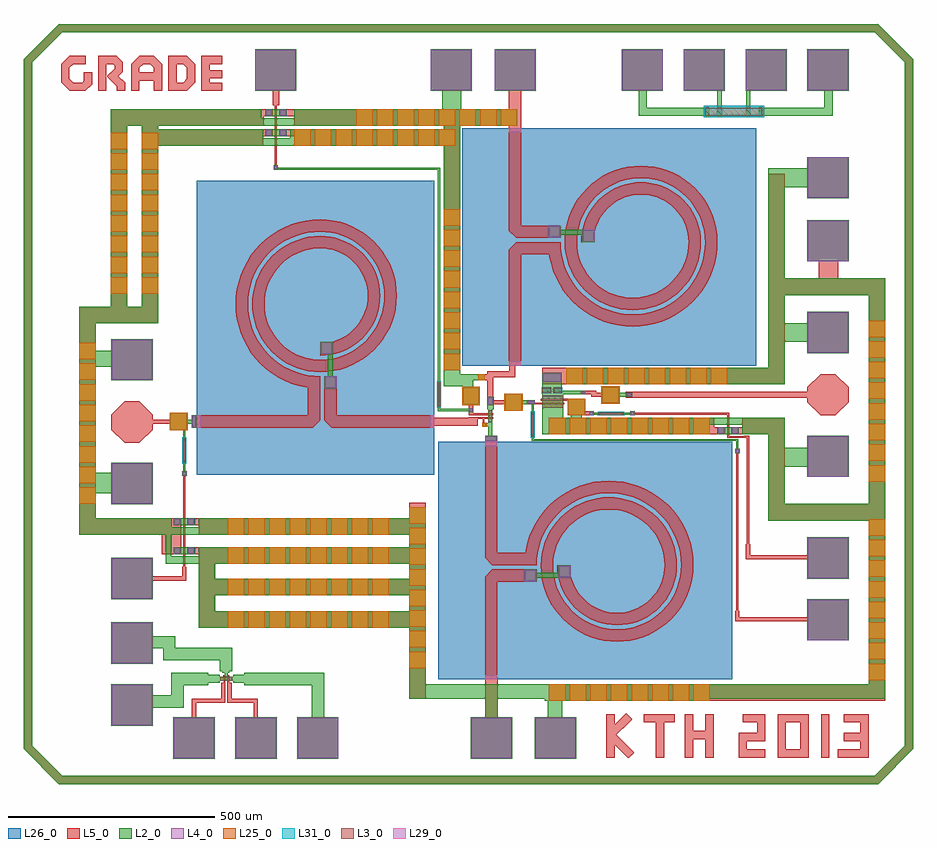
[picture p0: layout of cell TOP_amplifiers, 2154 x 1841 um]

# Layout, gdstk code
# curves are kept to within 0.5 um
from math import pi, radians
import gdstk
lib = gdstk.Library(unit=1e-6, precision=5e-10)
def R(c, l, rs):  # rectangles x0, y0, x1, y1
    for r in rs: c.add(gdstk.rectangle(r[:2], r[2:], *l))
def A(c, l, x, y, w, h, nx, ny, dx, dy):  # array of equal rectangles
    R(c, l, [(x+i*dx, y+j*dy, x+i*dx+w, y+j*dy+h) for i in range(nx) for j in range(ny)])
def P(c, l, *ps):  # polygons
    for p in ps: c.add(gdstk.Polygon(p, *l))
L2_0 = (2, 0)
L3_0 = (3, 0)
L4_0 = (4, 0)
L5_0 = (5, 0)
L25_0 = (25, 0)
L26_0 = (26, 0)
L29_0 = (29, 0)
L31_0 = (31, 0)

power_rail = lib.new_cell('power_rail')
A(power_rail, L2_0, 35, 210, 50, 40, 8, 1, 50, 0)
A(power_rail, L5_0, 45, 210, 50, 40, 8, 1, 50, 0)
A(power_rail, L25_0, 45, 210, 40, 40, 8, 1, 50, 0)
power_rail.add(gdstk.Label('VD', (442,229), layer=5, texttype=251))
power_rail.add(gdstk.Label('GD', (39,229), layer=2, texttype=251))

ind_2n8 = lib.new_cell('ind_2n8')
R(ind_2n8, L2_0, [(5,95,35,125), (13,95,25,205), (-5,178,25,208)])
R(ind_2n8, L4_0, [(5.5,95.5,34.5,124.5), (-4.5,178.5,24.5,207.5)])
R(ind_2n8, L5_0, [(-304,0,-289,30), (256,0,271,30), (-35,75,-5,125), (5,75,35,125), (-5,178,25,208)])
P(ind_2n8, L5_0, [(271,30),(35,30),(35,75),(5,75),(5,18),(23,0),(271,0)],
  [(-5,165),(-5,135),(11.124,135.704),(27.125,137.8105),(42.8815,141.3035),(58.2735,146.157),(73.1845,152.333),(87.5,159.7855),(101.1115,168.457),(113.9155,178.282),(125.815,189.185),(136.718,201.0845),(146.543,213.8885),(155.2145,227.5),(162.667,241.8155),(168.843,256.7265),(173.6965,272.1185),(177.1895,287.875),(179.296,303.876),(180,320),(179.296,336.124),(177.1895,352.125),(173.6965,367.8815),(168.843,383.2735),(162.667,398.1845),(155.2145,412.5),(146.543,426.1115),(136.718,438.9155),(125.815,450.815),(113.9155,461.718),(101.1115,471.543),(87.5,480.2145),(73.1845,487.667),(58.2735,493.843),(42.8815,498.6965),(27.125,502.1895),(11.124,504.296),(-5,505),(-5,475),(8.509,474.41),(21.9155,472.645),(35.117,469.7185),(48.013,465.6525),(60.506,460.4775),(72.5,454.234),(83.9045,446.9685),(94.632,438.737),(104.6015,429.6015),(113.737,419.632),(121.9685,408.9045),(129.234,397.5),(135.4775,385.506),(140.6525,373.013),(144.7185,360.117),(147.645,346.9155),(149.41,333.509),(150,320),(149.41,306.491),(147.645,293.0845),(144.7185,279.883),(140.6525,266.987),(135.4775,254.494),(129.234,242.5),(121.9685,231.0955),(113.737,220.368),(104.6015,210.3985),(94.632,201.263),(83.9045,193.0315),(72.5,185.766),(60.506,179.5225),(48.013,174.3475),(35.117,170.2815),(21.9155,167.355),(8.509,165.59)],
  [(-5,205),(-5,175),(7.6375,175.552),(20.179,177.203),(32.529,179.941),(44.593,183.7445),(56.2795,188.5855),(67.5,194.4265),(78.1685,201.223),(88.204,208.9235),(97.5305,217.4695),(106.0765,226.796),(113.777,236.8315),(120.5735,247.5),(126.4145,258.7205),(131.2555,270.407),(135.059,282.471),(137.797,294.821),(139.448,307.3625),(140,320),(139.448,332.6375),(137.797,345.179),(135.059,357.529),(131.2555,369.593),(126.4145,381.2795),(120.5735,392.5),(113.777,403.1685),(106.0765,413.204),(97.5305,422.5305),(88.204,431.0765),(78.1685,438.777),(67.5,445.5735),(56.2795,451.4145),(44.593,456.2555),(32.529,460.059),(20.179,462.797),(7.6375,464.448),(-5,465),(-5,435),(14.9695,433.253),(24.764,431.0815),(43.601,424.2255),(60.9615,414.2025),(76.3175,401.3175),(83.095,393.9205),(94.593,377.5),(103.0645,359.3325),(108.253,339.9695),(110,320),(108.253,300.0305),(106.0815,290.236),(99.2255,271.399),(89.2025,254.0385),(76.3175,238.6825),(60.9615,225.7975),(43.601,215.7745),(24.764,208.9185),(14.9695,206.747)],
  [(-5,165),(-5,135),(-19.3805,135.628),(-33.652,137.5065),(-47.705,140.622),(-61.4335,144.9505),(-74.732,150.459),(-87.5,157.106),(-99.64,164.84),(-111.06,173.6025),(-121.6725,183.3275),(-131.3975,193.94),(-140.16,205.36),(-147.894,217.5),(-154.541,230.268),(-160.0495,243.5665),(-164.378,257.295),(-167.4935,271.348),(-169.372,285.6195),(-170,300),(-169.372,314.3805),(-167.4935,328.652),(-164.378,342.705),(-160.0495,356.4335),(-154.541,369.732),(-147.894,382.5),(-140.16,394.64),(-131.3975,406.06),(-121.6725,416.6725),(-111.06,426.3975),(-99.64,435.16),(-87.5,442.894),(-74.732,449.541),(-61.4335,455.0495),(-47.705,459.378),(-33.652,462.4935),(-19.3805,464.372),(-5,465),(-5,435),(-16.766,434.4865),(-28.4425,432.949),(-39.9405,430.4),(-51.1725,426.8585),(-62.0535,422.3515),(-72.5,416.9135),(-82.433,410.5855),(-91.7765,403.416),(-100.4595,395.4595),(-108.416,386.7765),(-115.5855,377.433),(-121.9135,367.5),(-127.3515,357.0535),(-131.8585,346.1725),(-135.4,334.9405),(-137.949,323.4425),(-139.4865,311.766),(-140,300),(-139.4865,288.234),(-137.949,276.5575),(-135.4,265.0595),(-131.8585,253.8275),(-127.3515,242.9465),(-121.9135,232.5),(-115.5855,222.567),(-108.416,213.2235),(-100.4595,204.5405),(-91.7765,196.584),(-82.433,189.4145),(-72.5,183.0865),(-62.0535,177.6485),(-51.1725,173.1415),(-39.9405,169.6),(-28.4425,167.051),(-16.766,165.5135)],
  [(-5,125),(-5,95),(-22.867,95.78),(-40.598,98.1145),(-58.058,101.985),(-75.114,107.363),(-91.6365,114.207),(-107.5,122.465),(-122.583,132.074),(-136.7715,142.961),(-149.957,155.043),(-162.039,168.2285),(-172.926,182.417),(-182.535,197.5),(-190.793,213.3635),(-197.637,229.886),(-203.015,246.942),(-206.8855,264.402),(-209.22,282.133),(-210,300),(-209.22,317.867),(-206.8855,335.598),(-203.015,353.058),(-197.637,370.114),(-190.793,386.6365),(-182.535,402.5),(-172.926,417.583),(-162.039,431.7715),(-149.957,444.957),(-136.7715,457.039),(-122.583,467.926),(-107.5,477.535),(-91.6365,485.793),(-75.114,492.637),(-58.058,498.015),(-40.598,501.8855),(-22.867,504.22),(-5,505),(-5,475),(-20.2525,474.334),(-35.3885,472.3415),(-50.2935,469.037),(-64.8535,464.446),(-78.958,458.604),(-92.5,451.5545),(-105.376,443.3515),(-117.488,434.058),(-128.7435,423.7435),(-139.058,412.488),(-148.3515,400.376),(-156.5545,387.5),(-163.604,373.958),(-169.446,359.8535),(-174.037,345.2935),(-177.3415,330.3885),(-179.334,315.2525),(-180,300),(-179.334,284.7475),(-177.3415,269.6115),(-174.037,254.7065),(-169.446,240.1465),(-163.604,226.042),(-156.5545,212.5),(-148.3515,199.624),(-139.058,187.512),(-128.7435,176.2565),(-117.488,165.942),(-105.376,156.6485),(-92.5,148.4455),(-78.958,141.396),(-64.8535,135.554),(-50.2935,130.963),(-35.3885,127.6585),(-20.2525,125.666)],
  [(-304,0),(-23,0),(-5,18),(-5,75),(-35,75),(-35,30),(-304,30)])
R(ind_2n8, L26_0, [(-304,-113,271,599)])
R(ind_2n8, L29_0, [(-304,0,-294,30), (261,0,271,30)])

rf_pad_100 = lib.new_cell('RF_PAD_100')
P(rf_pad_100, L5_0, [(32,0),(0,32),(0,68),(32,100),(68,100),(100,68),(100,32),(68,0)])

pad_100 = lib.new_cell('PAD_100')
R(pad_100, L2_0, [(0,0,100,100)])
R(pad_100, L4_0, [(1,1,99,99)])
R(pad_100, L5_0, [(0,0,100,100)])

lna_3 = lib.new_cell('lna_3')
R(lna_3, L2_0, [(995,615,1030,695), (843,634,874,714), (660,679,874,714), (660,679,700,749), (814,679,1790,714), (1773,679,1813,1126), (150,851,188,1022), (150,851,214,891), (606,851,666,891), (150,930,214,970), (606,930,666,970), (70,1006,159,1024), (150,1006,214,1046), (606,1006,666,1046), (70,1012,83,1081), (89,1029,141,1046), (-140,1076,-100,1144), (-140,1076,84,1116), (70,1076,159,1094), (150,1076,214,1116), (606,1076,666,1116), (89,1099,141,1116), (1529,1110,1806,1151), (1773,1110,1813,1200), (1529,1137,1569,1359), (-117,1177,-47,1226), (110,1219,120,1230), (112,1230,117,1245), (1538,1241,1641,1287), (112,1245,117,1255), (1449,1274,1460,1284), (1452,1281,1456,1308), (843,1301,873,1316), (956,1304,1456,1308), (112,1305,117,1315), (851,1305,861,1347), (956,1308,961,1318), (112,1315,117,1330), (982,1320,1032,1393), (1406,1320,1458,1337), (1466,1320,1569,1360), (81,1330,122,1370), (133,1335,143,1365), (838,1339,846,1346), (846,1339,851,1346), (1388,1342,1477,1360), (851,1347,861,1358), (1051,1354,1077,1370), (851,1360,861,1367), (1045,1365,1086,1405), (1095,1365,1106,1375), (1195,1365,1206,1375), (1105,1367,1113,1372), (1113,1367,1123,1372), (1173,1367,1183,1372), (1183,1367,1195,1372), (956,1368,961,1378), (851,1369,861,1380), (804,1373,814,1383), (729,1375,814,1381), (892,1377,933,1417), (956,1377,961,1394), (848,1380,864,1410), (729,1381,734,1391), (789,1392,829,1433), (944,1392,964,1402), (982,1395,1032,1402), (1127,1395,1168,1435), (982,1404,1032,1418), (1179,1410,1200,1420), (982,1417,1002,1425), (1000,1417,1011,1425), (1009,1417,1029,1425), (1028,1417,1086,1425), (982,1427,1002,1435), (1000,1427,1011,1435), (1009,1427,1029,1435), (789,1433,814,1439), (982,1435,1029,1468), (743,1436,814,1465), (729,1441,734,1451), (1396,1441,1556,1481), (1529,1441,1569,1943), (729,1450,734,1965), (812,1450,830,1465), (827,1450,842,1465), (-113,1483,-56,1522), (-140,1531,-100,1596), (1544,1543,1647,1589), (-140,1588,51,1628), (1773,1592,1813,1697), (11,1613,51,1655), (-64,1617,-24,1653), (1529,1656,1808,1697), (743,1852,783,2058), (1529,1918,1647,1964), (331,1960,341,1971), (334,1960,734,1965), (11,2018,306,2058), (292,2018,381,2036), (-64,2031,-24,2081), (311,2041,363,2058), (743,2042,783,2085), (11,2053,51,2107), (-64,2067,28,2107), (11,2067,301,2107), (292,2067,381,2085), (381,2067,525,2107), (311,2090,363,2107), (740,2090,785,2190)])
R(lna_3, L3_0, [(112,1250,117,1310), (956,1313,961,1373), (851,1349,861,1378), (1118,1367,1178,1372), (982,1384,1032,1413), (729,1386,734,1446), (982,1420,1002,1432), (1009,1420,1029,1432)])
R(lna_3, L4_0, [(90,1030,105,1045), (124,1030,139,1045), (90,1100,105,1115), (124,1100,139,1115), (111,1220,119,1229), (1450,1275,1459,1283), (844,1302,872,1315), (1408,1321,1423,1336), (1442,1321,1457,1336), (134,1336,142,1364), (1096,1366,1105,1374), (1196,1366,1205,1374), (805,1374,813,1382), (850,1391,862,1409), (945,1393,963,1401), (1186,1411,1199,1419), (1076,1418,1085,1424), (983,1447,1028,1467), (332,1961,340,1970), (312,2042,327,2057), (346,2042,361,2057), (312,2091,327,2106), (346,2091,361,2106)])
R(lna_3, L5_0, [(843,617,874,731), (1394,674,1813,714), (660,679,699,766), (1773,703,1813,733), (150,851,222,891), (615,851,676,891), (150,868,189,1022), (150,930,222,970), (615,930,676,970), (112,988,117,1221), (150,1006,222,1046), (615,1006,676,1046), (60,1029,107,1116), (70,1029,107,1046), (122,1029,159,1046), (-140,1076,-100,1153), (-133,1076,84,1116), (150,1076,222,1116), (615,1076,676,1116), (70,1099,107,1116), (122,1099,159,1116), (1529,1110,1569,1359), (1529,1110,1806,1151), (1773,1110,1813,1215), (110,1219,120,1230), (1449,1274,1460,1284), (843,1301,873,1316), (1430,1311,1472,1315), (1430,1311,1435,1372), (1388,1320,1425,1337), (1440,1320,1477,1337), (1466,1320,1569,1360), (80,1330,121,1370), (133,1335,145,1365), (837,1339,845,1346), (715,1340,825,1360), (36,1345,68,1355), (804,1357,849,1361), (847,1357,863,1361), (1044,1365,1085,1405), (1083,1365,1106,1375), (1195,1365,1206,1375), (804,1366,849,1370), (847,1366,863,1370), (804,1367,814,1378), (1197,1367,1433,1372), (891,1377,932,1417), (789,1391,829,1432), (857,1392,881,1402), (944,1392,964,1402), (959,1392,1035.2,1396), (1126,1395,1167,1435), (978.4,1401,1035.2,1405), (1033,1401,1045,1405), (1184,1408,1638,1423), (1100,1410,1115,1420), (1075,1417,1090,1425), (1088,1417,1112,1425), (982,1441,1051,1481), (1386,1441,1544,1481), (1529,1441,1569,1951), (827,1450,842,1465), (837,1450,854,1465), (-140,1544,-100,1628), (-133,1588,51,1628), (1773,1598,1813,1697), (11,1610,51,1666), (-64,1611,-24,1670), (1529,1656,1813,1697), (1652,1673,1699,1751), (743,1868,783,2058), (331,1960,341,1971), (334,1964,339,2120), (16,2018,306,2058), (-64,2039,-24,2090), (292,2041,329,2058), (344,2041,381,2058), (743,2047,783,2086), (11,2054,51,2080), (901,2061,931,2075), (-64,2067,22,2107), (11,2067,307,2107), (381,2067,531,2107), (292,2090,329,2107), (344,2090,381,2107), (901,2099,931,2157), (329,2117,344,2156)])
R(lna_3, L25_0, [(79,1329,123,1371), (836,1338,847,1347), (1045,1365,1085,1405), (890,1376,934,1418), (788,1390,830,1434), (1125,1394,1169,1436), (827,1450,842,1465)])
R(lna_3, L31_0, [(110,1248,119,1312), (954,1311,963,1375), (1116,1365,1180,1374), (727,1384,736,1448), (981,1419,1003,1433), (1008,1419,1030,1433)])
lna_3.add(gdstk.FlexPath([(1167,1415),(1179,1415)], 10, ends="flush", simple_path=True, layer=2, datatype=0))  # L2_0
lna_3.add(gdstk.FlexPath([(932,1397),(944,1397)], 10, ends="flush", simple_path=True, layer=2, datatype=0))  # L2_0
lna_3.add(gdstk.FlexPath([(809,1432),(809,1444)], 10, ends="flush", simple_path=True, layer=2, datatype=0))  # L2_0
lna_3.add(gdstk.FlexPath([(121,1350),(133,1350)], 10, ends="flush", simple_path=True, layer=2, datatype=0))  # L2_0
lna_3.add(gdstk.FlexPath([(114,999),(114,970),(23,970)], 10, ends="flush", simple_path=True, layer=5, datatype=0))  # L5_0
lna_3.add(gdstk.FlexPath([(1454,892),(1454,871),(1636,871)], 10, ends="flush", simple_path=True, layer=5, datatype=0))  # L5_0
lna_3.add(gdstk.FlexPath([(1480,1053),(1480,1022),(1637,1022)], 10, ends="flush", simple_path=True, layer=5, datatype=0))  # L5_0
lna_3.add(gdstk.FlexPath([(1470,1313),(1480,1313),(1480,1048)], 5, ends="flush", simple_path=True, layer=5, datatype=0))  # L5_0
lna_3.add(gdstk.FlexPath([(1454,1278),(1454,888)], 5, ends="flush", simple_path=True, layer=5, datatype=0))  # L5_0
lna_3.add(gdstk.FlexPath([(1127,1415),(1113,1415)], 10, ends="flush", simple_path=True, layer=5, datatype=0))  # L5_0
lna_3.add(gdstk.FlexPath([(892,1397),(878,1397)], 10, ends="flush", simple_path=True, layer=5, datatype=0))  # L5_0
lna_3.add(gdstk.FlexPath([(909,1487),(909,1465),(856,1465),(856,1390)], 15, ends="flush", simple_path=True, layer=5, datatype=0))  # L5_0
lna_3.add(gdstk.FlexPath([(809,1392),(809,1378)], 10, ends="flush", simple_path=True, layer=5, datatype=0))  # L5_0
lna_3.add(gdstk.FlexPath([(81,1350),(67,1350)], 10, ends="flush", simple_path=True, layer=5, datatype=0))  # L5_0
lna_3.add(gdstk.FlexPath([(839,1344),(839,1359)], 4, ends="flush", simple_path=True, layer=5, datatype=0))  # L5_0
lna_3.add(gdstk.Reference(power_rail, (953,464)))
lna_3.add(gdstk.Reference(power_rail, (2023,679), rotation=pi/2))
lna_3.add(gdstk.Reference(power_rail, (175,641)))
lna_3.add(gdstk.Reference(power_rail, (175,796)))
lna_3.add(gdstk.Reference(power_rail, (186,1615), rotation=pi/2))
lna_3.add(gdstk.Reference(power_rail, (175,720)))
lna_3.add(gdstk.Reference(power_rail, (261,1615), rotation=pi/2))
lna_3.add(gdstk.Reference(power_rail, (953,1110)))
lna_3.add(gdstk.Reference(power_rail, (993,1430), rotation=pi/2))
lna_3.add(gdstk.Reference(power_rail, (175,866)))
lna_3.add(gdstk.Reference(power_rail, (1475,1231), rotation=pi, x_reflection=True))
lna_3.add(gdstk.Reference(power_rail, (486,1857)))
lna_3.add(gdstk.Reference(power_rail, (2023,1160), rotation=pi/2))
lna_3.add(gdstk.Reference(power_rail, (336,1808)))
lna_3.add(gdstk.Reference(power_rail, (910,708), rotation=pi/2))
lna_3.add(gdstk.Reference(power_rail, (110,1106), rotation=pi/2))
lna_3.add(gdstk.Reference(ind_2n8, (843,997), rotation=3*pi/2))
lna_3.add(gdstk.Reference(ind_2n8, (449,1335)))
lna_3.add(gdstk.Reference(ind_2n8, (901,1790), rotation=pi/2, x_reflection=True))
lna_3.add(gdstk.Reference(rf_pad_100, (1624,1365)))
lna_3.add(gdstk.Reference(rf_pad_100, (-62,1299)))
lna_3.add(gdstk.Reference(pad_100, (711,2152)))
lna_3.add(gdstk.Reference(pad_100, (964,534)))
lna_3.add(gdstk.Reference(pad_100, (1624,1891)))
lna_3.add(gdstk.Reference(pad_100, (1624,1738)))
lna_3.add(gdstk.Reference(pad_100, (286,2152)))
lna_3.add(gdstk.Reference(pad_100, (866,2152)))
lna_3.add(gdstk.Reference(pad_100, (809,534)))
lna_3.add(gdstk.Reference(pad_100, (1624,820)))
lna_3.add(gdstk.Reference(pad_100, (1624,970)))
lna_3.add(gdstk.Reference(pad_100, (-62,920)))
lna_3.add(gdstk.Reference(pad_100, (-62,1450)))
lna_3.add(gdstk.Reference(pad_100, (1624,1216)))
lna_3.add(gdstk.Reference(pad_100, (-62,1150)))
lna_3.add(gdstk.Reference(pad_100, (1624,1516)))
lna_3.add(gdstk.Label('BIAS4', (1671,1021), layer=5, texttype=251))
lna_3.add(gdstk.Label('BIAS3', (1676,870), layer=5, texttype=251))
lna_3.add(gdstk.Label('GD', (861,582), layer=5, texttype=251))
lna_3.add(gdstk.Label('BIAS2', (342,2200), layer=5, texttype=251))
lna_3.add(gdstk.Label('VD1', (917,2204), layer=5, texttype=251))
lna_3.add(gdstk.Label('VD2', (1665,1792), layer=5, texttype=251))
lna_3.add(gdstk.Label('IN', (-7,1350), layer=5, texttype=251))
lna_3.add(gdstk.Label('OUT', (1679,1416), layer=5, texttype=251))
lna_3.add(gdstk.Label('BIAS1', (-16,964), layer=5, texttype=251))

basic_stage = lib.new_cell('basic_stage')
R(basic_stage, L2_0, [(112,18,123,28), (125,18,132,28), (134,18,145,28), (125,22,132,45), (119,38,136,48)])
R(basic_stage, L3_0, [(114,18,143,28)])
R(basic_stage, L5_0, [(116,-1,126,14), (131,-1,141,14), (122,14,126,18), (131,14,135,18), (122,16.7,126,28), (131,16.7,135,28), (123,16.9,125,28.5), (132,16.9,134,28.5), (121,28,125,32), (132,28,136,32)])
basic_stage.add(gdstk.FlexPath([(128,42),(128,83),(-10,83),(-10,111.8),(-70,111.8)], 30, ends="flush", simple_path=True, layer=2, datatype=0))  # L2_0
basic_stage.add(gdstk.FlexPath([(85,23),(10,23),(10,-32.2),(-80,-32.2)], 30, ends="flush", simple_path=True, layer=2, datatype=0))  # L2_0
basic_stage.add(gdstk.FlexPath([(172,23),(350,23),(350,-100)], 30, ends="flush", simple_path=True, layer=2, datatype=0))  # L2_0
basic_stage.add(gdstk.FlexPath([(85,23),(112,23)], 20, ends="flush", simple_path=True, layer=2, datatype=0))  # L2_0
basic_stage.add(gdstk.FlexPath([(145,23),(172,23)], 20, ends="flush", simple_path=True, layer=2, datatype=0))  # L2_0
basic_stage.add(gdstk.FlexPath([(121,0),(121,-30),(50,-30),(50,-85)], 10, ends="flush", simple_path=True, layer=5, datatype=0))  # L5_0
basic_stage.add(gdstk.FlexPath([(136,0),(136,-30),(200,-30),(200,-86)], 10, ends="flush", simple_path=True, layer=5, datatype=0))  # L5_0
basic_stage.add(gdstk.Reference(pad_100, (-150,60)))
basic_stage.add(gdstk.Reference(pad_100, (150,-170)))
basic_stage.add(gdstk.Reference(pad_100, (300,-170)))
basic_stage.add(gdstk.Reference(pad_100, (-150,-90)))
basic_stage.add(gdstk.Reference(pad_100, (0,-170)))
basic_stage.add(gdstk.Label('G2', (51,-130), layer=5, texttype=251))
basic_stage.add(gdstk.Label('G1', (199,-129), layer=5, texttype=251))
basic_stage.add(gdstk.Label('DS2', (-100.7,-39.5), layer=5, texttype=251))
basic_stage.add(gdstk.Label('DS1', (-101,110), layer=5, texttype=251))
basic_stage.add(gdstk.Label('GD', (351,-126), layer=5, texttype=251))

basic_resistor = lib.new_cell('basic_resistor')
R(basic_resistor, L2_0, [(69,-1,79,21), (99,-1,109,21), (169,-1,179,21), (199,-1,209,21)])
R(basic_resistor, L3_0, [(70,0,208,20)])
R(basic_resistor, L31_0, [(66,-4,212,24)])
basic_resistor.add(gdstk.FlexPath([(174,3),(174,-62)], 10, ends="flush", simple_path=True, layer=2, datatype=0))  # L2_0
basic_resistor.add(gdstk.FlexPath([(104,5),(104,-54)], 10, ends="flush", simple_path=True, layer=2, datatype=0))  # L2_0
basic_resistor.add(gdstk.FlexPath([(200,10),(360,10),(360,-60)], 20, ends="flush", simple_path=True, layer=2, datatype=0))  # L2_0
basic_resistor.add(gdstk.FlexPath([(70,10),(-90,10),(-90,-60)], 20, ends="flush", simple_path=True, layer=2, datatype=0))  # L2_0
basic_resistor.add(gdstk.Reference(pad_100, (11,-141)))
basic_resistor.add(gdstk.Reference(pad_100, (161,-141)))
basic_resistor.add(gdstk.Reference(pad_100, (311,-141)))
basic_resistor.add(gdstk.Reference(pad_100, (-139,-141)))
basic_resistor.add(gdstk.Label('P4', (359,-93), layer=5, texttype=251))
basic_resistor.add(gdstk.Label('P3', (212,-93), layer=5, texttype=251))
basic_resistor.add(gdstk.Label('P2', (61,-93), layer=5, texttype=251))
basic_resistor.add(gdstk.Label('P1', (-91,-94), layer=5, texttype=251))

top_amplifiers = lib.new_cell('TOP_amplifiers')
R(top_amplifiers, L2_0, [(204,-79,1819,-59), (-80,45,-60,1660), (2054,45,2074,1660), (204,1742,1819,1762)])
R(top_amplifiers, L5_0, [(204,-79,1819,-59), (-80,45,-60,1660), (2054,45,2074,1660), (204,1742,1819,1762)])
top_amplifiers.add(gdstk.FlexPath([(218,1752),(9,1752),(-70,1673),(-70,1627)], 20, ends="flush", simple_path=True, layer=2, datatype=0))  # L2_0
top_amplifiers.add(gdstk.FlexPath([(1812,1752),(1985,1752),(2064,1673),(2064,1627)], 20, ends="flush", simple_path=True, layer=2, datatype=0))  # L2_0
top_amplifiers.add(gdstk.FlexPath([(1812,-69),(1985,-69),(2064,10),(2064,56)], 20, ends="flush", simple_path=True, layer=2, datatype=0))  # L2_0
top_amplifiers.add(gdstk.FlexPath([(218,-69),(9,-69),(-70,10),(-70,56)], 20, ends="flush", simple_path=True, layer=2, datatype=0))  # L2_0
top_amplifiers.add(gdstk.FlexPath([(360,1640),(400,1640)], 20, ends="flush", simple_path=True, layer=5, datatype=0))  # L5_0
top_amplifiers.add(gdstk.FlexPath([(400,1610),(360,1610),(360,1675),(400,1675)], 20, ends="flush", simple_path=True, layer=5, datatype=0))  # L5_0
top_amplifiers.add(gdstk.FlexPath([(280,1600),(280,1675),(310,1675),(325,1660),(325,1625),(310,1610),(290,1610)], 20, ends="flush", simple_path=True, layer=5, datatype=0))  # L5_0
top_amplifiers.add(gdstk.FlexPath([(190,1635),(245,1635)], 20, ends="flush", simple_path=True, layer=5, datatype=0))  # L5_0
top_amplifiers.add(gdstk.FlexPath([(190,1600),(190,1660),(205,1675),(230,1675),(245,1660),(245,1600)], 20, ends="flush", simple_path=True, layer=5, datatype=0))  # L5_0
top_amplifiers.add(gdstk.FlexPath([(110,1600),(110,1675),(140,1675),(150,1665),(150,1650),(135,1635),(155,1615),(155,1600)], 20, ends="flush", simple_path=True, layer=5, datatype=0))  # L5_0
top_amplifiers.add(gdstk.FlexPath([(70,1675),(35,1675),(20,1660),(20,1625),(35,1610),(65,1610),(75,1620),(75,1645)], 20, ends="flush", simple_path=True, layer=5, datatype=0))  # L5_0
top_amplifiers.add(gdstk.FlexPath([(1906.1,35),(1956.1,35)], 20, ends="flush", simple_path=True, layer=5, datatype=0))  # L5_0
top_amplifiers.add(gdstk.FlexPath([(1906.1,80),(1956.1,80),(1956.1,-5),(1891.1,-5)], 20, ends="flush", simple_path=True, layer=5, datatype=0))  # L5_0
top_amplifiers.add(gdstk.FlexPath([(1861.1,90),(1861.1,-15)], 20, ends="flush", simple_path=True, layer=5, datatype=0))  # L5_0
top_amplifiers.add(gdstk.FlexPath([(1756.1,90),(1756.1,-5),(1811.1,-5),(1811.1,80),(1766.1,80)], 20, ends="flush", simple_path=True, layer=5, datatype=0))  # L5_0
top_amplifiers.add(gdstk.FlexPath([(1661.1,80),(1706.1,80),(1706.1,35),(1661.1,35),(1661.1,-5),(1716.1,-5)], 20, ends="flush", simple_path=True, layer=5, datatype=0))  # L5_0
top_amplifiers.add(gdstk.FlexPath([(1531.1,40),(1581.1,40)], 20, ends="flush", simple_path=True, layer=5, datatype=0))  # L5_0
top_amplifiers.add(gdstk.FlexPath([(1581.1,90),(1581.1,-15)], 20, ends="flush", simple_path=True, layer=5, datatype=0))  # L5_0
top_amplifiers.add(gdstk.FlexPath([(1531.1,90),(1531.1,-15)], 20, ends="flush", simple_path=True, layer=5, datatype=0))  # L5_0
top_amplifiers.add(gdstk.FlexPath([(1461.1,80),(1461.1,-15)], 20, ends="flush", simple_path=True, layer=5, datatype=0))  # L5_0
top_amplifiers.add(gdstk.FlexPath([(1421.1,80),(1496.1,80)], 20, ends="flush", simple_path=True, layer=5, datatype=0))  # L5_0
top_amplifiers.add(gdstk.FlexPath([(1341.1,40),(1391.1,-10)], 20, ends="flush", simple_path=True, layer=5, datatype=0))  # L5_0
top_amplifiers.add(gdstk.FlexPath([(1341.1,40),(1386.1,85)], 20, ends="flush", simple_path=True, layer=5, datatype=0))  # L5_0
top_amplifiers.add(gdstk.FlexPath([(1341.1,-15),(1341.1,90)], 20, ends="flush", simple_path=True, layer=5, datatype=0))  # L5_0
top_amplifiers.add(gdstk.FlexPath([(218,-69),(9,-69),(-70,10),(-70,56)], 20, ends="flush", simple_path=True, layer=5, datatype=0))  # L5_0
top_amplifiers.add(gdstk.FlexPath([(218,1752),(9,1752),(-70,1673),(-70,1627)], 20, ends="flush", simple_path=True, layer=5, datatype=0))  # L5_0
top_amplifiers.add(gdstk.FlexPath([(1812,1752),(1985,1752),(2064,1673),(2064,1627)], 20, ends="flush", simple_path=True, layer=5, datatype=0))  # L5_0
top_amplifiers.add(gdstk.FlexPath([(1812,-69),(1985,-69),(2064,10),(2064,56)], 20, ends="flush", simple_path=True, layer=5, datatype=0))  # L5_0
top_amplifiers.add(gdstk.Reference(lna_3, (194,-551.3)))
top_amplifiers.add(gdstk.Reference(basic_stage, (282,152.7)))
top_amplifiers.add(gdstk.Reference(basic_resistor, (1779,1559.7), rotation=pi))

lib.write_gds('TOP_amplifiers.gds')
